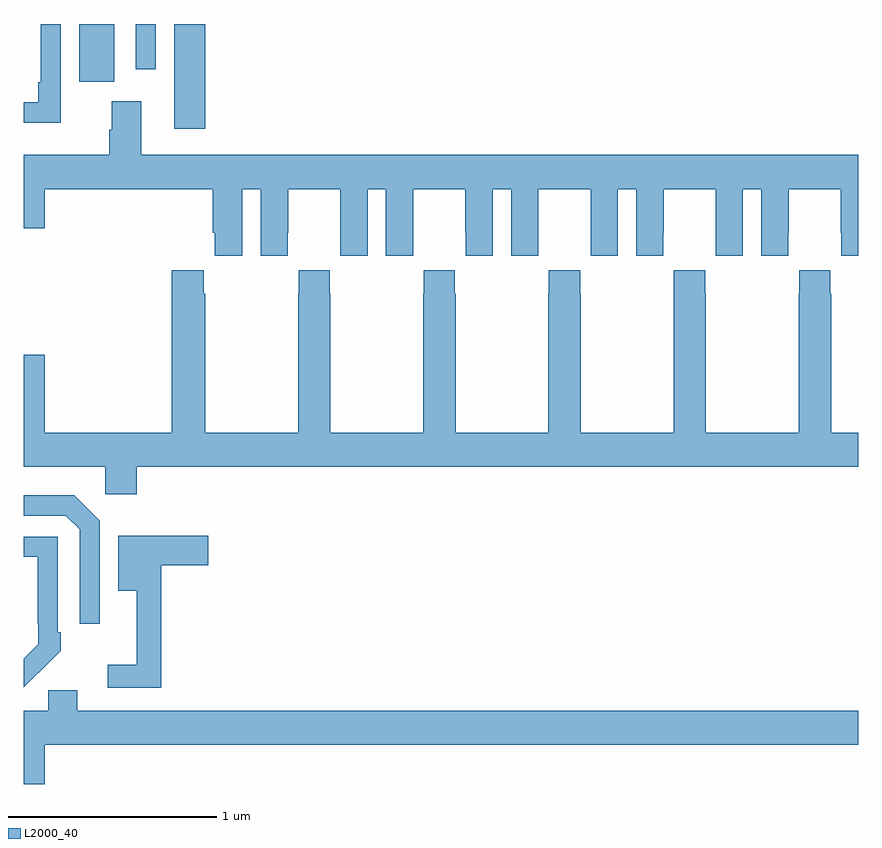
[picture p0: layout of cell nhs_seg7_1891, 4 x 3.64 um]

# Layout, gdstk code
import gdstk
lib = gdstk.Library(unit=1e-6, precision=1e-09)
def R(c, l, rs):  # rectangles x0, y0, x1, y1
    for r in rs: c.add(gdstk.rectangle(r[:2], r[2:], *l))
def P(c, l, *ps):  # polygons
    for p in ps: c.add(gdstk.Polygon(p, *l))
L2000_40 = (2000, 40)

nhs_seg7_1891 = lib.new_cell('nhs_seg7_1891')
R(nhs_seg7_1891, L2000_40, [(237.722,1075.497,237.869,1076), (237.266,1075.722,237.433,1076), (237.537,1075.782,237.633,1076)])
P(nhs_seg7_1891, L2000_40, [(237.177,1076),(237.081,1076),(237.081,1075.72),(237.069,1075.72),(237.069,1075.624),(237,1075.624),(237,1075.526),(237.177,1075.526)],
  [(238.048,1075.208),(238.136,1075.208),(238.136,1074.888),(238.266,1074.888),(238.266,1075),(238.267,1075),(238.267,1075.208),(238.517,1075.208),(238.517,1075),(238.518,1075),(238.518,1074.888),(238.648,1074.888),(238.648,1075.208),(238.736,1075.208),(238.736,1074.888),(238.866,1074.888),(238.866,1075),(238.867,1075),(238.867,1075.208),(239.117,1075.208),(239.117,1075),(239.118,1075),(239.118,1074.888),(239.248,1074.888),(239.248,1075.208),(239.336,1075.208),(239.336,1074.888),(239.466,1074.888),(239.466,1075),(239.467,1075),(239.467,1075.208),(239.717,1075.208),(239.717,1075),(239.718,1075),(239.718,1074.888),(239.848,1074.888),(239.848,1075.208),(239.936,1075.208),(239.936,1074.888),(240.066,1074.888),(240.066,1075),(240.067,1075),(240.067,1075.208),(240.317,1075.208),(240.317,1075),(240.318,1075),(240.318,1074.888),(240.448,1074.888),(240.448,1075.208),(240.536,1075.208),(240.536,1074.888),(240.666,1074.888),(240.666,1075),(240.667,1075),(240.667,1075.208),(240.917,1075.208),(240.917,1075),(240.918,1075),(240.918,1074.888),(241,1074.888),(241,1075.372),(237.562,1075.372),(237.562,1075.63),(237.422,1075.63),(237.422,1075.493),(237.41,1075.493),(237.41,1075.372),(237,1075.372),(237,1075.02),(237.1,1075.02),(237.1,1075.208),(237.905,1075.208),(237.905,1075),(237.914,1075),(237.914,1074.888),(238.048,1074.888)],
  [(237.542,1073.876),(241,1073.876),(241,1074.04),(240.87,1074.04),(240.87,1074.707),(240.867,1074.707),(240.867,1074.82),(240.717,1074.82),(240.717,1074.707),(240.715,1074.707),(240.715,1074.04),(240.27,1074.04),(240.27,1074.707),(240.267,1074.707),(240.267,1074.82),(240.117,1074.82),(240.117,1074.707),(240.115,1074.707),(240.115,1074.04),(239.67,1074.04),(239.67,1074.707),(239.667,1074.707),(239.667,1074.82),(239.517,1074.82),(239.517,1074.707),(239.515,1074.707),(239.515,1074.04),(239.07,1074.04),(239.07,1074.707),(239.067,1074.707),(239.067,1074.82),(238.917,1074.82),(238.917,1074.707),(238.915,1074.707),(238.915,1074.04),(238.47,1074.04),(238.47,1074.707),(238.467,1074.707),(238.467,1074.82),(238.317,1074.82),(238.317,1074.707),(238.315,1074.707),(238.315,1074.04),(237.87,1074.04),(237.87,1074.707),(237.863,1074.707),(237.863,1074.82),(237.71,1074.82),(237.71,1074.04),(237.1,1074.04),(237.1,1074.415),(237,1074.415),(237,1073.876),(237.39,1073.876),(237.39,1073.745),(237.542,1073.745)],
  [(237.363,1073.619),(237.242,1073.74),(237,1073.74),(237,1073.643),(237.201,1073.643),(237.267,1073.577),(237.267,1073.124),(237.363,1073.124)],
  [(237.659,1073.405),(237.883,1073.405),(237.883,1073.547),(237.452,1073.547),(237.452,1073.282),(237.542,1073.282),(237.542,1072.927),(237.402,1072.927),(237.402,1072.818),(237.659,1072.818)],
  [(237.071,1072.891),(237.072,1072.89),(237.177,1072.995),(237.177,1073.083),(237.162,1073.083),(237.162,1073.541),(237,1073.541),(237,1073.445),(237.066,1073.445),(237.066,1073.125),(237.069,1073.125),(237.069,1073.025),(237,1072.956),(237,1072.82)],
  [(237.1,1072.544),(241,1072.544),(241,1072.708),(237.256,1072.708),(237.256,1072.806),(237.117,1072.806),(237.117,1072.708),(237,1072.708),(237,1072.356),(237.1,1072.356)])

lib.write_gds('nhs_seg7_1891.gds')
